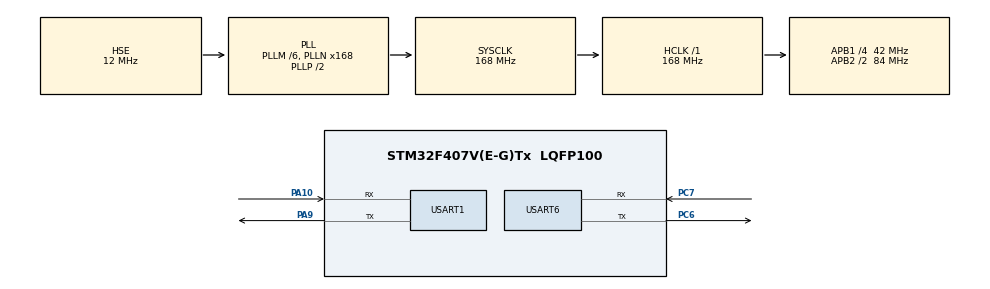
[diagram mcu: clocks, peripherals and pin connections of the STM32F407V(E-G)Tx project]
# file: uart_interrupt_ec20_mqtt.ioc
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Mcu.Family=STM32F4
Mcu.Name=STM32F407V(E-G)Tx
Mcu.Package=LQFP100
NVIC.PriorityGroup=NVIC_PRIORITYGROUP_4
NVIC.USART6_IRQn=true\:0\:0\:false\:false\:true\:true\:true\:true
PA10.Mode=Asynchronous
PA10.Signal=USART1_RX
PA13.Mode=Serial_Wire
PA13.Signal=SYS_JTMS-SWDIO
PA14.Mode=Serial_Wire
PA14.Signal=SYS_JTCK-SWCLK
PA9.Mode=Asynchronous
PA9.Signal=USART1_TX
PC6.Mode=Asynchronous
PC6.Signal=USART6_TX
PC7.Mode=Asynchronous
PC7.Signal=USART6_RX
PH0-OSC_IN.Mode=HSE-External-Oscillator
PH0-OSC_IN.Signal=RCC_OSC_IN
PH1-OSC_OUT.Mode=HSE-External-Oscillator
PH1-OSC_OUT.Signal=RCC_OSC_OUT
ProjectManager.HeapSize=0x200
ProjectManager.StackSize=0x400
ProjectManager.TargetToolchain=STM32CubeIDE
RCC.48MHZClocksFreq_Value=84000000
RCC.AHBFreq_Value=168000000
RCC.APB1CLKDivider=RCC_HCLK_DIV4
RCC.APB1Freq_Value=42000000
RCC.APB1TimFreq_Value=84000000
RCC.APB2CLKDivider=RCC_HCLK_DIV2
RCC.APB2Freq_Value=84000000
RCC.APB2TimFreq_Value=168000000
RCC.CortexFreq_Value=168000000
RCC.HCLKFreq_Value=168000000
RCC.HSE_VALUE=12000000
RCC.HSI_VALUE=16000000
RCC.LSE_VALUE=32768
RCC.PLLM=6
RCC.PLLN=168
RCC.PLLSourceVirtual=RCC_PLLSOURCE_HSE
RCC.SYSCLKFreq_VALUE=168000000
RCC.SYSCLKSource=RCC_SYSCLKSOURCE_PLLCLK
RCC.VCOOutputFreq_Value=336000000
USART1.VirtualMode=VM_ASYNC
USART6.VirtualMode=VM_ASYNC
board=custom

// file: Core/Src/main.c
/* USER CODE BEGIN Header */
/**
  ******************************************************************************
  * @file           : main.c
  * @brief          : Main program body
  ******************************************************************************
  * @attention
  *
  * Copyright (c) 2024 STMicroelectronics.
  * All rights reserved.
  *
  * This software is licensed under terms that can be found in the LICENSE file
  * in the root directory of this software component.
  * If no LICENSE file comes with this software, it is provided AS-IS.
  *
  ******************************************************************************
  */
/* USER CODE END Header */
#include "main.h"
#include "usart.h"
#include "gpio.h"

/* USER CODE BEGIN Includes */
#include "stdarg.h"
#include "stdio.h"
#include "string.h"
#include "ec20_device.h"
/* USER CODE END Includes */

/* USER CODE BEGIN PD */
#define SUB_TOPIC_1 "TestDev/%s/RcvMsg1"
#define SUB_TOPIC_2 "TestDev/%s/RcvMsg2"
#define SEND_TOPIC "TestDev/%s/SendMsg2"
/* USER CODE END PD */

/* USER CODE BEGIN PV */
extern uint8_t rx_buffer_;
EC20_CONFIG_INFO g_ec20_config_info;
ISP_INFO g_isp_info;
MQTT_REGISTER_INFO g_mqtt_register_info;
MQTT_SUB_TOPIC g_mqtt_sub_topic;
EC20_STATE_INFO g_ec20_state_info;
/* USER CODE END PV */

void SystemClock_Config(void);
/* USER CODE BEGIN PFP */
void util_str_cpy(char * dest, char * src, int length);
/* USER CODE END PFP */

int main(void)
{

  /* MCU Configuration--------------------------------------------------------*/

  /* Reset of all peripherals, Initializes the Flash interface and the Systick. */
  HAL_Init();

  /* Configure the system clock */
  SystemClock_Config();

  /* Initialize all configured peripherals */
  MX_GPIO_Init();
  MX_USART1_UART_Init();
  MX_USART6_UART_Init();
  /* USER CODE BEGIN 2 */
  HAL_UART_Receive_IT(&huart1, (uint8_t *)&rx_buffer_, 1);
  /* USER CODE END 2 */

  /* Infinite loop */
  /* USER CODE BEGIN WHILE */

  uint32_t uid[3] = {0};
  char id[64] = {0};
  uid[0] = HAL_GetUIDw0();
  uid[1] = HAL_GetUIDw1();
  uid[2] = HAL_GetUIDw2();
  snprintf(id, sizeof(id), "%lu%lu%lu", uid[0], uid[1], uid[2]);

  uart_printf("[%d]:UUID = %s\n", __LINE__, id);

  char dev_id[DEV_ID_LENGTH] = {0};
  snprintf(dev_id, sizeof(dev_id), "%s", id);

  char sub_topic_1_[MQTT_TOPIC_LENGTH] = {0};
  char sub_topic_2_[MQTT_TOPIC_LENGTH] = {0};
  char send_topic[MQTT_TOPIC_LENGTH] = {0};

  snprintf(sub_topic_1_, MQTT_TOPIC_LENGTH, SUB_TOPIC_1, dev_id);
  snprintf(sub_topic_2_, MQTT_TOPIC_LENGTH, SUB_TOPIC_2, dev_id);
  snprintf(send_topic, MQTT_TOPIC_LENGTH, SEND_TOPIC, dev_id);

  memset(&g_mqtt_sub_topic, 0, sizeof(g_mqtt_sub_topic));
  util_str_cpy(g_mqtt_sub_topic.subTopic[0], sub_topic_1_, MQTT_TOPIC_LENGTH);
  util_str_cpy(g_mqtt_sub_topic.subTopic[1], sub_topic_2_, MQTT_TOPIC_LENGTH);
  g_mqtt_sub_topic.topicNum = 2;

  memset(&g_ec20_config_info, 0, sizeof(g_ec20_config_info));
  g_ec20_config_info.MQTTTopic = &g_mqtt_sub_topic;

  memset(&g_isp_info, 0, sizeof(g_isp_info));
  util_str_cpy(g_isp_info.ispAPNName, ISP_APN_NAME, ISP_NAME_LENGTH);
  g_ec20_config_info.ispInfo = &g_isp_info;

  memset(&g_mqtt_register_info, 0, sizeof(g_mqtt_register_info));
  util_str_cpy(g_mqtt_register_info.mqttUrl, MQTT_REGISTER_INFO_URL, MQTT_URL_LENGTH);
  util_str_cpy(g_mqtt_register_info.username, MQTT_REGISTER_INFO_USR_NAME, MQTT_USERNAME_LENGTH);
  util_str_cpy(g_mqtt_register_info.password, MQTT_REGISTER_INFO_PASSWORD, MQTT_PASSWORD_LENGTH);
  util_str_cpy(g_mqtt_register_info.cliName, dev_id, MQTT_CLI_NAME_LENGTH);
  g_ec20_config_info.MQTTRegisterInfo = &g_mqtt_register_info;

  memset(&g_ec20_state_info, 0, sizeof(g_ec20_state_info));
  g_ec20_config_info.ec20StateInfo = &g_ec20_state_info;

  if (DEV_OK != ec20Init(&g_ec20_config_info)) {
    uart_printf("ec20 init failed\r\n");
  }
  uart_printf("ec20 init success\r\n");

  while (1)
  {
    /* USER CODE END WHILE */

    /* USER CODE BEGIN 3 */
    ec20SendMsg(send_topic, "hello mqtt", 20);
    HAL_Delay(2000);
  }
  /* USER CODE END 3 */
}

void SystemClock_Config(void)
{
  RCC_OscInitTypeDef RCC_OscInitStruct = {0};
  RCC_ClkInitTypeDef RCC_ClkInitStruct = {0};

  /** Configure the main internal regulator output voltage
  */
  __HAL_RCC_PWR_CLK_ENABLE();
  __HAL_PWR_VOLTAGESCALING_CONFIG(PWR_REGULATOR_VOLTAGE_SCALE1);

  /** Initializes the RCC Oscillators according to the specified parameters
  * in the RCC_OscInitTypeDef structure.
  */
  RCC_OscInitStruct.OscillatorType = RCC_OSCILLATORTYPE_HSE;
  RCC_OscInitStruct.HSEState = RCC_HSE_ON;
  RCC_OscInitStruct.PLL.PLLState = RCC_PLL_ON;
  RCC_OscInitStruct.PLL.PLLSource = RCC_PLLSOURCE_HSE;
  RCC_OscInitStruct.PLL.PLLM = 6;
  RCC_OscInitStruct.PLL.PLLN = 168;
  RCC_OscInitStruct.PLL.PLLP = RCC_PLLP_DIV2;
  RCC_OscInitStruct.PLL.PLLQ = 4;
  if (HAL_RCC_OscConfig(&RCC_OscInitStruct) != HAL_OK)
  {
    Error_Handler();
  }

  /** Initializes the CPU, AHB and APB buses clocks
  */
  RCC_ClkInitStruct.ClockType = RCC_CLOCKTYPE_HCLK|RCC_CLOCKTYPE_SYSCLK
                              |RCC_CLOCKTYPE_PCLK1|RCC_CLOCKTYPE_PCLK2;
  RCC_ClkInitStruct.SYSCLKSource = RCC_SYSCLKSOURCE_PLLCLK;
  RCC_ClkInitStruct.AHBCLKDivider = RCC_SYSCLK_DIV1;
  RCC_ClkInitStruct.APB1CLKDivider = RCC_HCLK_DIV4;
  RCC_ClkInitStruct.APB2CLKDivider = RCC_HCLK_DIV2;

  if (HAL_RCC_ClockConfig(&RCC_ClkInitStruct, FLASH_LATENCY_5) != HAL_OK)
  {
    Error_Handler();
  }
}

/* USER CODE BEGIN 4 */
void HAL_UART_RxCpltCallback(UART_HandleTypeDef *huart)
{
  /* Prevent unused argument(s) compilation warning */
  UNUSED(huart);
  /* NOTE: This function Should not be modified, when the callback is needed,
           the HAL_UART_TxCpltCallback could be implemented in the user file
*/
  if(huart->Instance == USART6)
  {
    UartHandle();
  }

}

int uart_printf(char *fmt, ...) {
  char sprint_buf[500];
  va_list args;
  int n;
  va_start(args, fmt);
  n = vsprintf(sprint_buf, fmt, args);
  va_end(args);
  HAL_UART_Transmit(&huart1, (uint8_t *) sprint_buf, n, n);
  return 0;
}

void util_str_cpy(char * dest, char * src, int length)
{
  while(*src != '\0' && length > 0)
  {
    *dest = *src;
    src++;
    dest++;
    length--;
  }

  *dest = '\0';
}
/* USER CODE END 4 */

void Error_Handler(void)
{
  __disable_irq();
  while (1)
  {
  }
}
